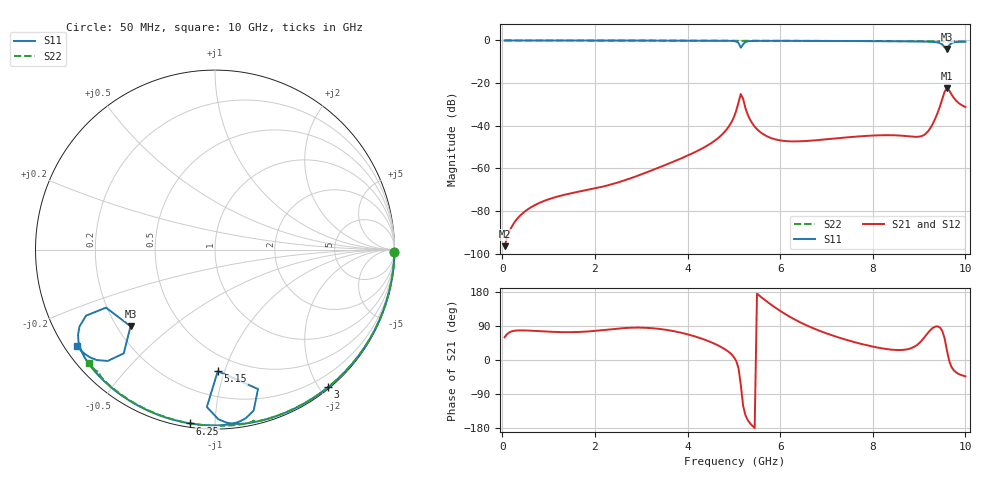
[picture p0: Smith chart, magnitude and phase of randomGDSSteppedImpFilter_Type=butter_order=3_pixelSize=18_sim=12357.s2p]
! freq	dB(S11)	phase(S11)	dB(S12)	phase(S12)
!  dB(S21)	phase(S21)	dB(S22)	phase(S22)
!S-par simulation data
#  GHz  S  DB  R 50
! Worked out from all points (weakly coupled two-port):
!   200 points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, 50 MHz to 10 GHz, reference 50 ohm
!   highest |S21| = -22.36 dB at 9.6 GHz (marker M1); lowest = -96.5 dB at 50 MHz (marker M2)
!   lowest |S11| = -3.9 dB at 9.6 GHz (marker M3), VSWR 4.48, Z = 12.7 - j18.2 ohm
!   |S11| at or under -10 dB: nowhere
!   |S22| runs from -0.6 to 0.0 dB; largest |S21 - S12| = 0
!   S11 on the Smith chart (normalised r, x): 50 MHz: open; 3 GHz: 0.02, -2.12; 5.15 GHz: 0.38, -0.95; 6.25 GHz: 0.02, -0.87; 10 GHz: 0.04, -0.31
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0.05  -0.00 -0.9  -96.49 60.1  -96.49 60.1  -0.00 -0.8
0.5  -0.01 -8.7  -80.00 78.0  -80.00 78.0  -0.01 -8.0
1.75  -0.04 -29.9  -70.50 74.5  -70.50 74.5  -0.04 -27.6
3  -0.07 -50.5  -62.84 85.4  -62.84 85.4  -0.06 -46.6
3.4  -0.08 -57.0  -59.45 81.9  -59.45 81.9  -0.07 -52.5
4.6  -0.12 -76.5  -46.82 42.0  -46.82 42.0  -0.10 -69.7
4.9  -0.18 -82.8  -40.08 20.3  -40.08 20.3  -0.11 -73.9
5.05  -0.49 -88.9  -33.07 -2.3  -33.07 -2.3  -0.13 -76.1
5.15  -3.38 -88.7  -25.13 -65.3  -25.13 -65.3  -0.21 -77.4
5.2  -1.80 -72.9  -27.42 -120.6  -27.42 -120.6  -0.18 -77.6
5.3  -0.41 -79.5  -34.80 -158.4  -34.80 -158.4  -0.14 -79.1
5.5  -0.20 -85.7  -41.61 175.0  -41.61 175.0  -0.14 -81.9
5.8  -0.18 -91.2  -45.76 146.4  -45.76 146.4  -0.15 -85.9
6.25  -0.19 -98.1  -47.34 111.2  -47.34 111.2  -0.17 -91.9
6.7  -0.21 -104.7  -46.94 84.5  -46.94 84.5  -0.19 -97.7
8.35  -0.35 -127.9  -44.43 28.0  -44.43 28.0  -0.30 -118.3
9.15  -0.53 -140.9  -43.61 65.2  -43.61 65.2  -0.38 -128.1
9.45  -1.22 -150.4  -30.95 86.0  -30.95 86.0  -0.44 -132.0
9.55  -3.25 -152.0  -24.11 58.0  -24.11 58.0  -0.53 -133.3
9.6  -3.94 -137.8  -22.36 26.3  -22.36 26.3  -0.57 -133.4
9.7  -1.30 -133.9  -25.30 -18.5  -25.30 -18.5  -0.49 -134.2
10  -0.56 -145.2  -31.21 -43.1  -31.21 -43.1  -0.48 -138.0
